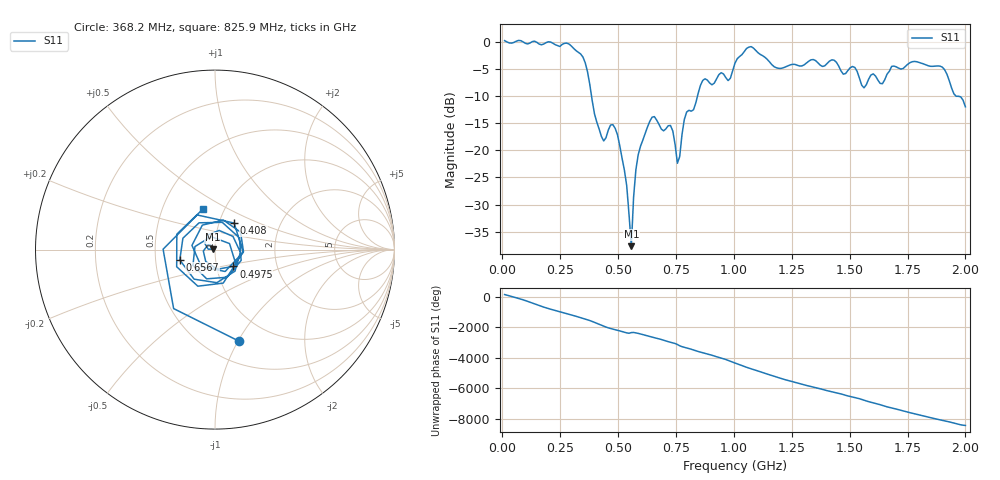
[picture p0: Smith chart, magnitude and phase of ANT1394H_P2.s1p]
!Created with skrf (http://scikit-rf.org).
# Hz S RI R 50.0
!freq ReS11 ImS11
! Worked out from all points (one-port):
!   201 points, 10 MHz to 2 GHz, reference 50 ohm
!   lowest |S11| = -37.7 dB at 557.2 MHz (marker M1), VSWR 1.03, Z = 48.7 + j0.264 ohm
!   |S11| at or under -10 dB: 385.4 MHz to 843 MHz (457.6 MHz wide, 74.5 % of centre); 1.959 GHz to end of sweep
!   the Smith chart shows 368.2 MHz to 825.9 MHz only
!   S11 on the Smith chart (normalised r, x): 368.2 MHz: 0.71, -1.01; 408 MHz: 1.18, +0.36; 497.6 MHz: 1.20, -0.23; 656.8 MHz: 0.67, -0.08; 825.9 MHz: 0.80, +0.38
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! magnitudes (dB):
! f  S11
! 10 MHz  0.2
! 258.8 MHz  -0.5
! 338.4 MHz  -2.2
! 368.2 MHz  -5.5
! 408 MHz  -14.8
! 437.9 MHz  -18.3
! 467.7 MHz  -15.3
! 497.6 MHz  -17.2
! 507.5 MHz  -19.2
! 537.4 MHz  -26.5
! 557.2 MHz  -37.7
! 567.2 MHz  -28.5
! 587.1 MHz  -20.8
! 656.8 MHz  -13.8
! 726.4 MHz  -15.4
! 756.2 MHz  -22.4
! 786.1 MHz  -14.3
! 825.9 MHz  -12.5
! 865.7 MHz  -7.1
! 975.1 MHz  -7.1
! 1.005 GHz  -3.9
! 1.075 GHz  -0.9
! 1.254 GHz  -4.1
! 1.502 GHz  -4.8
! 1.562 GHz  -8.5
! 1.751 GHz  -4.1
! 1.901 GHz  -4.7
! 2 GHz  -12.0
